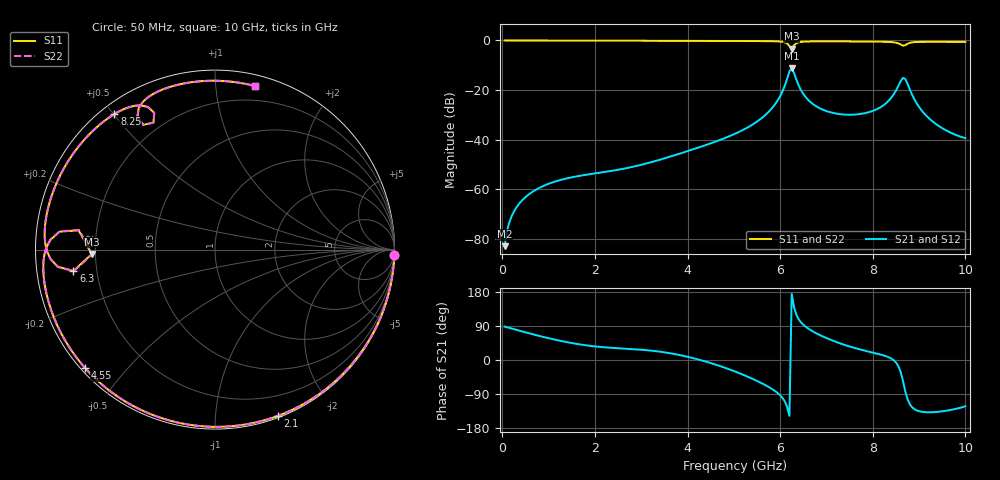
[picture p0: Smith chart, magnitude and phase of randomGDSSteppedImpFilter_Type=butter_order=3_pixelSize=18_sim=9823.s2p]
! freq	dB(S11)	phase(S11)	dB(S12)	phase(S12)
!  dB(S21)	phase(S21)	dB(S22)	phase(S22)
!S-par simulation data
#  GHz  S  DB  R 50
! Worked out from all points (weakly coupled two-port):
!   200 points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, 50 MHz to 10 GHz, reference 50 ohm
!   highest |S21| = -11.25 dB at 6.25 GHz (marker M1); lowest = -82.9 dB at 50 MHz (marker M2)
!   lowest |S11| = -3.3 dB at 6.25 GHz (marker M3), VSWR 5.39, Z = 9.28 - j0.882 ohm
!   |S11| at or under -10 dB: nowhere
!   |S22| runs from -3.3 to 0.0 dB; largest |S21 - S12| = 0
!   S11 on the Smith chart (normalised r, x): 50 MHz: 0, -66; 2.1 GHz: 0.02, -1.45; 4.55 GHz: 0.01, -0.39; 6.3 GHz: 0.11, -0.07; 8.25 GHz: 0.04, +0.50; 10 GHz: 0.08, +1.27
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0.05  -0.00 -1.7  -82.90 88.2  -82.90 88.2  -0.00 -1.7
0.25  -0.01 -8.6  -69.00 81.4  -69.00 81.4  -0.01 -8.6
0.55  -0.03 -18.8  -62.37 71.4  -62.37 71.4  -0.03 -18.8
1.75  -0.07 -58.3  -54.30 39.8  -54.30 39.8  -0.07 -58.3
2.1  -0.09 -69.2  -53.31 34.7  -53.31 34.7  -0.09 -69.2
3.4  -0.13 -107.1  -48.08 22.0  -48.08 22.0  -0.13 -107.1
4.55  -0.18 -137.7  -41.14 -10.0  -41.14 -10.0  -0.18 -137.8
5.05  -0.21 -150.7  -37.40 -31.5  -37.40 -31.5  -0.21 -150.8
5.8  -0.30 -171.2  -27.81 -74.7  -27.81 -74.7  -0.30 -171.3
6.15  -1.19 173.4  -15.48 -123.2  -15.48 -123.2  -1.20 173.3
6.25  -3.26 -177.9  -11.25 174.2  -11.25 174.2  -3.30 -177.9
6.3  -1.96 -171.5  -13.11 139.7  -13.11 139.7  -1.98 -171.3
6.45  -0.58 -179.3  -20.01 99.3  -20.01 99.3  -0.58 -179.3
6.7  -0.39 171.5  -25.52 75.8  -25.52 75.8  -0.39 171.5
7.5  -0.40 148.8  -29.94 35.6  -29.94 35.6  -0.40 148.8
8.25  -0.53 126.5  -25.85 11.5  -25.85 11.5  -0.53 126.5
8.35  -0.60 123.1  -24.15 7.0  -24.15 7.0  -0.60 123.1
8.6  -1.57 114.0  -16.49 -30.5  -16.49 -30.5  -1.57 113.9
8.7  -1.93 119.9  -15.48 -81.7  -15.48 -81.7  -1.93 119.9
8.95  -0.60 111.7  -25.39 -133.0  -25.39 -133.0  -0.60 111.7
9.2  -0.52 102.7  -31.14 -138.0  -31.14 -138.0  -0.52 102.6
10  -0.55 76.3  -39.37 -122.2  -39.37 -122.2  -0.55 76.3
